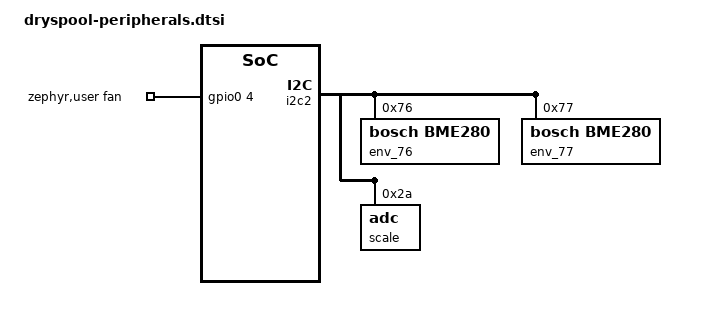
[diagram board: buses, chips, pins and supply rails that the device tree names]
&arduino_i2c {
	status = "disabled";
};

/* UARTE1 belongs to TF-M. Route TWIM2 to the Arduino SDA/SCL pins. */
&i2c2 {
	status = "okay";
	pinctrl-0 = <&i2c1_default>;
	pinctrl-1 = <&i2c1_sleep>;
	pinctrl-names = "default", "sleep";

	env_76: bme280@76 {
		compatible = "bosch,bme280";
		reg = <0x76>;
	};
	env_77: bme280@77 {
		compatible = "bosch,bme280";
		reg = <0x77>;
	};
	scale: adc@2a {
		reg = <0x2a>;
	};
};

/ {
	zephyr,user {
		fan-gpios = <&gpio0 4 GPIO_ACTIVE_HIGH>; /* Arduino A0 -> driver IN */
	};
};
